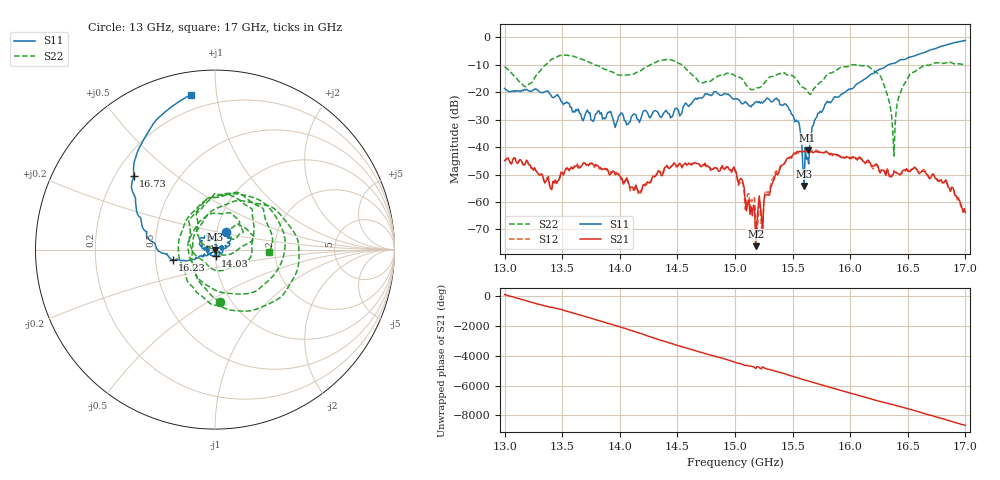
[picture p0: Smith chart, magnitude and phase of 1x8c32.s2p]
!Keysight Technologies,P9374A,MY57211807,A.19.30.04
!Date: Friday, May 08, 2026 15:10:25
!Correction: S11(C  2-Port  )
!S21(C  2-Port  )
!S12(C  2-Port  )
!S22(C  2-Port  )
!S2P File: Measurements: S11, S21, S12, S22:
# Hz S  dB  R 50
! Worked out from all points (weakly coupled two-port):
!   401 points, 13 GHz to 17 GHz, reference 50 ohm
!   highest |S21| = -41.19 dB at 15.63 GHz (marker M1); lowest = -76.1 dB at 15.18 GHz (marker M2)
!   lowest |S11| = -54.2 dB at 15.6 GHz (marker M3), VSWR 1.00, Z = 49.8 + j0.0395 ohm
!   |S11| at or under -10 dB: start of sweep to 16.33 GHz
!   |S22| runs from -43.3 to -6.5 dB; largest |S21 - S12| = 0.00073
!   S11 on the Smith chart (normalised r, x): 13 GHz: 1.11, +0.22; 14.03 GHz: 1.00, -0.08; 16.23 GHz: 0.61, -0.07; 16.73 GHz: 0.27, +0.36; 17 GHz: 0.12, +0.85
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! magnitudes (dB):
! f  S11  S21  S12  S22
! 13 GHz  -18.7  -44.9  -45.2  -10.7
! 13.19 GHz  -18.9  -44.9  -44.8  -17.9
! 13.41 GHz  -21.7  -55.5  -54.7  -8.0
! 13.67 GHz  -29.5  -46.7  -46.5  -8.0
! 14.03 GHz  -28.5  -53.5  -53.5  -13.8
! 14.17 GHz  -31.0  -56.6  -57.1  -12.4
! 14.34 GHz  -28.2  -48.9  -48.6  -8.6
! 14.71 GHz  -22.2  -47.1  -47.0  -16.6
! 15 GHz  -22.4  -48.3  -48.6  -14.1
! 15.18 GHz  -23.7  -76.1  -66.6  -18.7
! 15.46 GHz  -25.3  -44.1  -44.4  -13.7
! 15.55 GHz  -30.5  -41.8  -42.2  -16.3
! 15.6 GHz  -54.2  -41.6  -41.7  -18.5
! 15.63 GHz  -43.8  -41.2  -41.0  -19.7
! 15.67 GHz  -32.6  -41.8  -41.2  -19.9
! 15.93 GHz  -20.7  -43.9  -43.8  -10.8
! 16.23 GHz  -12.3  -46.2  -46.5  -12.9
! 16.34 GHz  -9.9  -50.8  -50.1  -23.7
! 16.38 GHz  -9.5  -49.0  -48.6  -43.3
! 16.5 GHz  -7.5  -48.5  -48.9  -14.9
! 16.73 GHz  -4.3  -50.7  -50.5  -9.4
! 17 GHz  -1.2  -63.9  -62.7  -10.4
